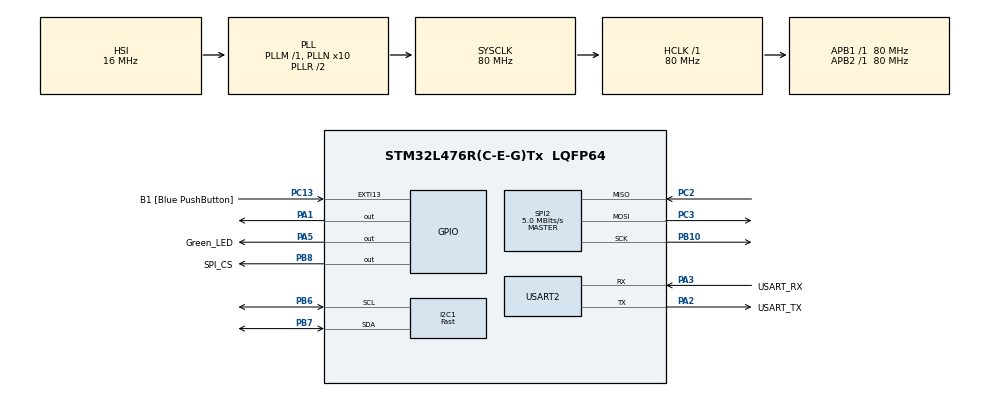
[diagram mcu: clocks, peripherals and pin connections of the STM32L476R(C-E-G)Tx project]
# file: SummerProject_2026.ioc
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I2C1.I2C_Speed_Mode=I2C_Fast
I2C1.Timing=0x00F12981
Mcu.Family=STM32L4
Mcu.Name=STM32L476R(C-E-G)Tx
Mcu.Package=LQFP64
NVIC.PriorityGroup=NVIC_PRIORITYGROUP_4
PA1.Signal=GPIO_Output
PA13\ (JTMS-SWDIO).GPIO_Label=TMS
PA13\ (JTMS-SWDIO).Mode=Serial_Wire
PA13\ (JTMS-SWDIO).Signal=SYS_JTMS-SWDIO
PA14\ (JTCK-SWCLK).GPIO_Label=TCK
PA14\ (JTCK-SWCLK).Mode=Serial_Wire
PA14\ (JTCK-SWCLK).Signal=SYS_JTCK-SWCLK
PA2.GPIO_Label=USART_TX
PA2.GPIO_Mode=GPIO_MODE_AF_PP
PA2.GPIO_PuPd=GPIO_NOPULL
PA2.GPIO_Speed=GPIO_SPEED_FREQ_VERY_HIGH
PA2.Mode=Asynchronous
PA2.Signal=USART2_TX
PA3.GPIO_Label=USART_RX
PA3.GPIO_Mode=GPIO_MODE_AF_PP
PA3.GPIO_PuPd=GPIO_NOPULL
PA3.GPIO_Speed=GPIO_SPEED_FREQ_VERY_HIGH
PA3.Mode=Asynchronous
PA3.Signal=USART2_RX
PA5.GPIO_Label=Green_LED
PA5.Signal=GPIO_Output
PB10.Mode=Full_Duplex_Master
PB10.Signal=SPI2_SCK
PB3\ (JTDO-TRACESWO).GPIO_Label=SWO
PB3\ (JTDO-TRACESWO).Signal=SYS_JTDO-SWO
PB6.Mode=I2C
PB6.Signal=I2C1_SCL
PB7.Mode=I2C
PB7.Signal=I2C1_SDA
PB8.GPIO_Label=SPI_CS
PB8.GPIO_Speed=GPIO_SPEED_FREQ_VERY_HIGH
PB8.PinState=GPIO_PIN_SET
PB8.Signal=GPIO_Output
PC13.GPIO_Label=B1 [Blue PushButton]
PC13.GPIO_ModeDefaultEXTI=GPIO_MODE_IT_FALLING
PC13.GPIO_PuPd=GPIO_NOPULL
PC13.Signal=GPXTI13
PC14-OSC32_IN\ (PC14).Mode=LSE-External-Oscillator
PC14-OSC32_IN\ (PC14).Signal=RCC_OSC32_IN
PC15-OSC32_OUT\ (PC15).Mode=LSE-External-Oscillator
PC15-OSC32_OUT\ (PC15).Signal=RCC_OSC32_OUT
PC2.Mode=Full_Duplex_Master
PC2.Signal=SPI2_MISO
PC3.Mode=Full_Duplex_Master
PC3.Signal=SPI2_MOSI
PH0-OSC_IN\ (PH0).Signal=RCC_OSC_IN
PH1-OSC_OUT\ (PH1).Signal=RCC_OSC_OUT
ProjectManager.HeapSize=0x200
ProjectManager.StackSize=0x400
ProjectManager.TargetToolchain=CMake
RCC.ADCFreq_Value=64000000
RCC.AHBFreq_Value=80000000
RCC.APB1Freq_Value=80000000
RCC.APB1TimFreq_Value=80000000
RCC.APB2Freq_Value=80000000
RCC.APB2TimFreq_Value=80000000
RCC.CortexFreq_Value=80000000
RCC.HCLKFreq_Value=80000000
RCC.HSE_VALUE=8000000
RCC.HSI_VALUE=16000000
RCC.MSI_VALUE=4000000
RCC.PLLN=10
RCC.PLLSourceVirtual=RCC_PLLSOURCE_HSI
RCC.PREFETCH_ENABLE=1
RCC.SYSCLKFreq_VALUE=80000000
RCC.SYSCLKSource=RCC_SYSCLKSOURCE_PLLCLK
RCC.USBFreq_Value=64000000
RCC.VCOOutputFreq_Value=160000000
SPI2.BaudRatePrescaler=SPI_BAUDRATEPRESCALER_16
SPI2.CalculateBaudRate=5.0 MBits/s
SPI2.DataSize=SPI_DATASIZE_8BIT
SPI2.Direction=SPI_DIRECTION_2LINES
SPI2.Mode=SPI_MODE_MASTER
SPI2.VirtualType=VM_MASTER
USART2.VirtualMode-Asynchronous=VM_ASYNC
board=NUCLEO-L476RG

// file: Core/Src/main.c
/* USER CODE BEGIN Header */
/**
  ******************************************************************************
  * @file           : main.c
  * @brief          : Main program body
  ******************************************************************************
  * @attention
  *
  * Copyright (c) 2026 STMicroelectronics.
  * All rights reserved.
  *
  * This software is licensed under terms that can be found in the LICENSE file
  * in the root directory of this software component.
  * If no LICENSE file comes with this software, it is provided AS-IS.
  *
  ******************************************************************************
  */
/* USER CODE END Header */
#include "main.h"

/* USER CODE BEGIN Includes */
#include "SPI_Driver.h"
#include "I2C_Driver.h"
#include "BMP280_Bare-Metal_Driver.h"
#include "MPU6050_Bare-Metal_Driver.h"
#include "stm32l4xx_hal.h"
#include "stm32l4xx_ll_utils.h"
#include <stdint.h>
#include "scheduler.h"
/* USER CODE END Includes */

UART_HandleTypeDef huart2;

/* USER CODE BEGIN PV */
BMP280_t BMP280_Sensor;
MPU6050_t MPU6050_Sensor;

/* USER CODE END PV */

void SystemClock_Config(void);
static void MX_GPIO_Init(void);
static void MX_USART2_UART_Init(void);
static void MX_I2C1_Init(void);
static void MX_SPI2_Init(void);

/* USER CODE BEGIN 0 */
uint32_t bmp_beat = 0; // Check to see if robin-rounded scheduler actually works.
uint32_t mpu_beat = 0;

void Task_BMP280(void) {
  while (1) {
      Read_SPI_Temperature(&BMP280_Sensor);
      BMP280_Sensor.temperature_C = BMP280_Sensor.raw_temperature / 100.0f;

      Read_SPI_Pressure(&BMP280_Sensor);
      BMP280_Sensor.pressure_hPa = BMP280_Sensor.raw_pressure / 100.0f;

      bmp_beat++;
      // Brief software delay to prevent polling the sensor faster than its ODR
      LL_mDelay(10);
  }
}

// Task 2: Dedicated exclusively to reading the MPU6050 over I2C1
void Task_MPU6050(void) {
  while (1) {
      Read_I2C_Acceleration(&MPU6050_Sensor);
      Read_I2C_Gyroscope(&MPU6050_Sensor);

      mpu_beat++;
      LL_mDelay(10);
  }
}
/* USER CODE END 0 */

int main(void)
{

  /* USER CODE BEGIN 1 */
  MPU6050_Sensor.I2C_Addr = MPU6050_I2C_ADDDRESS;
  /* USER CODE END 1 */

  /* MCU Configuration--------------------------------------------------------*/

  /* Reset of all peripherals, Initializes the Flash interface and the Systick. */
  HAL_Init();

  /* Configure the system clock */
  SystemClock_Config();

  /* Initialize all configured peripherals */
  MX_GPIO_Init();
  MX_USART2_UART_Init();
  MX_I2C1_Init();
  MX_SPI2_Init();
  /* USER CODE BEGIN 2 */
  LL_SPI_Enable(SPI2);
  LL_I2C_Enable(I2C1);

  LL_mDelay(10);

  uint8_t BMP280_chip_id;
  uint8_t MPU6050_chip_id;
  BMP280_chip_id = SPI_Read(BMP280_ID);
  MPU6050_chip_id = I2C_Read(MPU6050_I2C_ADDDRESS, 0x75);

  // Wiring error or wrong SPI settings! Trap the CPU here for debugging.
  while (BMP280_chip_id != 0x58 || MPU6050_chip_id != 0x68) {
    LL_GPIO_TogglePin(GPIOA, Green_LED_Pin);
    LL_mDelay(500);
  }

  // Section 3.11.2 of the BMP280 datasheet describes how to read calibration data from the sensor.
  // Read calibration data from the BMP280 sensor
  BMP280_SPI_Config(&BMP280_Sensor);

  // Section 3.12 lists the values dig_Tx and dig_Px should be similar to.
  // If they are not, then there is a wiring error or wrong SPI settings.

  // Configure and Control Measurement Register
  Ctrl_SPI_Meas_Write(BMP280_INDOOR_CTRL); // Write to the control measurement register to configure the sensor
  Config_SPI_Write(BMP280_INDOOR_CONFIG); // Write to the configuration register to configure the sensor

  MPU6050_Init(&MPU6050_Sensor);
  MPU6050_Calibrate(&MPU6050_Sensor); // This functioon should take 11 seconds

  Scheduler_AddTask(Task_BMP280);
  Scheduler_AddTask(Task_MPU6050);

  Scheduler_Start();
  /* USER CODE END 2 */

  /* Infinite loop */
  while (1)
  {

    /* USER CODE BEGIN 3 */
    // Temperature Read
    // Read_SPI_Temperature(&BMP280_Sensor);

    // BMP280_Sensor.temperature_C = BMP280_Sensor.raw_temperature / 100.0f; // Convert to degrees Celsius. 100.0f is 100 but in float format to avoid integer division.

    // Read_SPI_Pressure(&BMP280_Sensor);

    // BMP280_Sensor.pressure_hPa = BMP280_Sensor.raw_pressure / 100.0f; // Conversion.

    // Read_I2C_Acceleration(&MPU6050_Sensor);

    // Read_I2C_Gyroscope(&MPU6050_Sensor);

    // LL_mDelay(10);

  }
  /* USER CODE END 3 */
}

void SystemClock_Config(void)
{
  RCC_OscInitTypeDef RCC_OscInitStruct = {0};
  RCC_ClkInitTypeDef RCC_ClkInitStruct = {0};

  /** Configure the main internal regulator output voltage
  */
  if (HAL_PWREx_ControlVoltageScaling(PWR_REGULATOR_VOLTAGE_SCALE1) != HAL_OK)
  {
    Error_Handler();
  }

  /** Initializes the RCC Oscillators according to the specified parameters
  * in the RCC_OscInitTypeDef structure.
  */
  RCC_OscInitStruct.OscillatorType = RCC_OSCILLATORTYPE_HSI;
  RCC_OscInitStruct.HSIState = RCC_HSI_ON;
  RCC_OscInitStruct.HSICalibrationValue = RCC_HSICALIBRATION_DEFAULT;
  RCC_OscInitStruct.PLL.PLLState = RCC_PLL_ON;
  RCC_OscInitStruct.PLL.PLLSource = RCC_PLLSOURCE_HSI;
  RCC_OscInitStruct.PLL.PLLM = 1;
  RCC_OscInitStruct.PLL.PLLN = 10;
  RCC_OscInitStruct.PLL.PLLP = RCC_PLLP_DIV7;
  RCC_OscInitStruct.PLL.PLLQ = RCC_PLLQ_DIV2;
  RCC_OscInitStruct.PLL.PLLR = RCC_PLLR_DIV2;
  if (HAL_RCC_OscConfig(&RCC_OscInitStruct) != HAL_OK)
  {
    Error_Handler();
  }

  /** Initializes the CPU, AHB and APB buses clocks
  */
  RCC_ClkInitStruct.ClockType = RCC_CLOCKTYPE_HCLK|RCC_CLOCKTYPE_SYSCLK
                              |RCC_CLOCKTYPE_PCLK1|RCC_CLOCKTYPE_PCLK2;
  RCC_ClkInitStruct.SYSCLKSource = RCC_SYSCLKSOURCE_PLLCLK;
  RCC_ClkInitStruct.AHBCLKDivider = RCC_SYSCLK_DIV1;
  RCC_ClkInitStruct.APB1CLKDivider = RCC_HCLK_DIV1;
  RCC_ClkInitStruct.APB2CLKDivider = RCC_HCLK_DIV1;

  if (HAL_RCC_ClockConfig(&RCC_ClkInitStruct, FLASH_LATENCY_4) != HAL_OK)
  {
    Error_Handler();
  }
}

static void MX_I2C1_Init(void)
{

  LL_I2C_InitTypeDef I2C_InitStruct = {0};

  LL_GPIO_InitTypeDef GPIO_InitStruct = {0};
  RCC_PeriphCLKInitTypeDef PeriphClkInit = {0};

  /** Initializes the peripherals clock
  */
  PeriphClkInit.PeriphClockSelection = RCC_PERIPHCLK_I2C1;
  PeriphClkInit.I2c1ClockSelection = RCC_I2C1CLKSOURCE_PCLK1;
  if (HAL_RCCEx_PeriphCLKConfig(&PeriphClkInit) != HAL_OK)
  {
    Error_Handler();
  }

  LL_AHB2_GRP1_EnableClock(LL_AHB2_GRP1_PERIPH_GPIOB);
  /**I2C1 GPIO Configuration
  PB6   ------> I2C1_SCL
  PB7   ------> I2C1_SDA
  */
  GPIO_InitStruct.Pin = LL_GPIO_PIN_6|LL_GPIO_PIN_7;
  GPIO_InitStruct.Mode = LL_GPIO_MODE_ALTERNATE;
  GPIO_InitStruct.Speed = LL_GPIO_SPEED_FREQ_VERY_HIGH;
  GPIO_InitStruct.OutputType = LL_GPIO_OUTPUT_OPENDRAIN;
  GPIO_InitStruct.Pull = LL_GPIO_PULL_NO;
  GPIO_InitStruct.Alternate = LL_GPIO_AF_4;
  LL_GPIO_Init(GPIOB, &GPIO_InitStruct);

  /* Peripheral clock enable */
  LL_APB1_GRP1_EnableClock(LL_APB1_GRP1_PERIPH_I2C1);

  /** I2C Initialization
  */
  LL_I2C_EnableAutoEndMode(I2C1);
  LL_I2C_DisableOwnAddress2(I2C1);
  LL_I2C_DisableGeneralCall(I2C1);
  LL_I2C_EnableClockStretching(I2C1);
  I2C_InitStruct.PeripheralMode = LL_I2C_MODE_I2C;
  I2C_InitStruct.Timing = 0x00F12981;
  I2C_InitStruct.AnalogFilter = LL_I2C_ANALOGFILTER_ENABLE;
  I2C_InitStruct.DigitalFilter = 0;
  I2C_InitStruct.OwnAddress1 = 0;
  I2C_InitStruct.TypeAcknowledge = LL_I2C_ACK;
  I2C_InitStruct.OwnAddrSize = LL_I2C_OWNADDRESS1_7BIT;
  LL_I2C_Init(I2C1, &I2C_InitStruct);
  LL_I2C_SetOwnAddress2(I2C1, 0, LL_I2C_OWNADDRESS2_NOMASK);

}

static void MX_SPI2_Init(void)
{

  LL_SPI_InitTypeDef SPI_InitStruct = {0};

  LL_GPIO_InitTypeDef GPIO_InitStruct = {0};

  /* Peripheral clock enable */
  LL_APB1_GRP1_EnableClock(LL_APB1_GRP1_PERIPH_SPI2);

  LL_AHB2_GRP1_EnableClock(LL_AHB2_GRP1_PERIPH_GPIOC);
  LL_AHB2_GRP1_EnableClock(LL_AHB2_GRP1_PERIPH_GPIOB);
  /**SPI2 GPIO Configuration
  PC2   ------> SPI2_MISO
  PC3   ------> SPI2_MOSI
  PB10   ------> SPI2_SCK
  */
  GPIO_InitStruct.Pin = LL_GPIO_PIN_2|LL_GPIO_PIN_3;
  GPIO_InitStruct.Mode = LL_GPIO_MODE_ALTERNATE;
  GPIO_InitStruct.Speed = LL_GPIO_SPEED_FREQ_VERY_HIGH;
  GPIO_InitStruct.OutputType = LL_GPIO_OUTPUT_PUSHPULL;
  GPIO_InitStruct.Pull = LL_GPIO_PULL_NO;
  GPIO_InitStruct.Alternate = LL_GPIO_AF_5;
  LL_GPIO_Init(GPIOC, &GPIO_InitStruct);

  GPIO_InitStruct.Pin = LL_GPIO_PIN_10;
  GPIO_InitStruct.Mode = LL_GPIO_MODE_ALTERNATE;
  GPIO_InitStruct.Speed = LL_GPIO_SPEED_FREQ_VERY_HIGH;
  GPIO_InitStruct.OutputType = LL_GPIO_OUTPUT_PUSHPULL;
  GPIO_InitStruct.Pull = LL_GPIO_PULL_NO;
  GPIO_InitStruct.Alternate = LL_GPIO_AF_5;
  LL_GPIO_Init(GPIOB, &GPIO_InitStruct);

  /* SPI2 parameter configuration*/
  SPI_InitStruct.TransferDirection = LL_SPI_FULL_DUPLEX;
  SPI_InitStruct.Mode = LL_SPI_MODE_MASTER;
  SPI_InitStruct.DataWidth = LL_SPI_DATAWIDTH_8BIT;
  SPI_InitStruct.ClockPolarity = LL_SPI_POLARITY_LOW;
  SPI_InitStruct.ClockPhase = LL_SPI_PHASE_1EDGE;
  SPI_InitStruct.NSS = LL_SPI_NSS_SOFT;
  SPI_InitStruct.BaudRate = LL_SPI_BAUDRATEPRESCALER_DIV16;
  SPI_InitStruct.BitOrder = LL_SPI_MSB_FIRST;
  SPI_InitStruct.CRCCalculation = LL_SPI_CRCCALCULATION_DISABLE;
  SPI_InitStruct.CRCPoly = 7;
  LL_SPI_Init(SPI2, &SPI_InitStruct);
  LL_SPI_SetStandard(SPI2, LL_SPI_PROTOCOL_MOTOROLA);
  LL_SPI_EnableNSSPulseMgt(SPI2);

}

static void MX_USART2_UART_Init(void)
{

  huart2.Instance = USART2;
  huart2.Init.BaudRate = 115200;
  huart2.Init.WordLength = UART_WORDLENGTH_8B;
  huart2.Init.StopBits = UART_STOPBITS_1;
  huart2.Init.Parity = UART_PARITY_NONE;
  huart2.Init.Mode = UART_MODE_TX_RX;
  huart2.Init.HwFlowCtl = UART_HWCONTROL_NONE;
  huart2.Init.OverSampling = UART_OVERSAMPLING_16;
  huart2.Init.OneBitSampling = UART_ONE_BIT_SAMPLE_DISABLE;
  huart2.AdvancedInit.AdvFeatureInit = UART_ADVFEATURE_NO_INIT;
  if (HAL_UART_Init(&huart2) != HAL_OK)
  {
    Error_Handler();
  }

}

static void MX_GPIO_Init(void)
{
  LL_EXTI_InitTypeDef EXTI_InitStruct = {0};
  LL_GPIO_InitTypeDef GPIO_InitStruct = {0};

  /* GPIO Ports Clock Enable */
  LL_AHB2_GRP1_EnableClock(LL_AHB2_GRP1_PERIPH_GPIOC);
  LL_AHB2_GRP1_EnableClock(LL_AHB2_GRP1_PERIPH_GPIOH);
  LL_AHB2_GRP1_EnableClock(LL_AHB2_GRP1_PERIPH_GPIOA);
  LL_AHB2_GRP1_EnableClock(LL_AHB2_GRP1_PERIPH_GPIOB);

  /**/
  LL_GPIO_ResetOutputPin(GPIOA, LL_GPIO_PIN_1|Green_LED_Pin);

  /**/
  LL_GPIO_SetOutputPin(SPI_CS_GPIO_Port, SPI_CS_Pin);

  /**/
  LL_SYSCFG_SetEXTISource(LL_SYSCFG_EXTI_PORTC, LL_SYSCFG_EXTI_LINE13);

  /**/
  EXTI_InitStruct.Line_0_31 = LL_EXTI_LINE_13;
  EXTI_InitStruct.Line_32_63 = LL_EXTI_LINE_NONE;
  EXTI_InitStruct.LineCommand = ENABLE;
  EXTI_InitStruct.Mode = LL_EXTI_MODE_IT;
  EXTI_InitStruct.Trigger = LL_EXTI_TRIGGER_FALLING;
  LL_EXTI_Init(&EXTI_InitStruct);

  /**/
  LL_GPIO_SetPinPull(B1_GPIO_Port, B1_Pin, LL_GPIO_PULL_NO);

  /**/
  LL_GPIO_SetPinMode(B1_GPIO_Port, B1_Pin, LL_GPIO_MODE_INPUT);

  /**/
  GPIO_InitStruct.Pin = LL_GPIO_PIN_1|Green_LED_Pin;
  GPIO_InitStruct.Mode = LL_GPIO_MODE_OUTPUT;
  GPIO_InitStruct.Speed = LL_GPIO_SPEED_FREQ_LOW;
  GPIO_InitStruct.OutputType = LL_GPIO_OUTPUT_PUSHPULL;
  GPIO_InitStruct.Pull = LL_GPIO_PULL_NO;
  LL_GPIO_Init(GPIOA, &GPIO_InitStruct);

  /**/
  GPIO_InitStruct.Pin = SPI_CS_Pin;
  GPIO_InitStruct.Mode = LL_GPIO_MODE_OUTPUT;
  GPIO_InitStruct.Speed = LL_GPIO_SPEED_FREQ_VERY_HIGH;
  GPIO_InitStruct.OutputType = LL_GPIO_OUTPUT_PUSHPULL;
  GPIO_InitStruct.Pull = LL_GPIO_PULL_NO;
  LL_GPIO_Init(SPI_CS_GPIO_Port, &GPIO_InitStruct);

}

void Error_Handler(void)
{
  __disable_irq();
  while (1)
  {
  }
}
